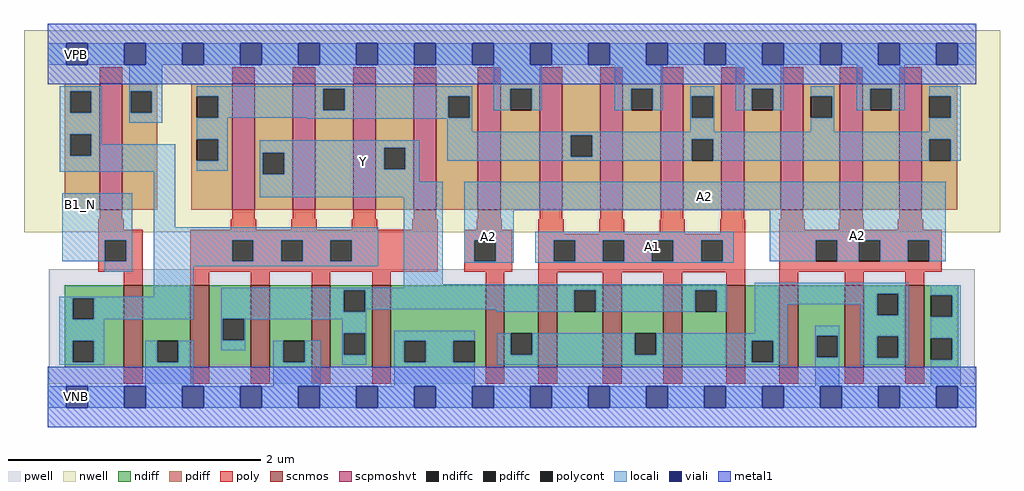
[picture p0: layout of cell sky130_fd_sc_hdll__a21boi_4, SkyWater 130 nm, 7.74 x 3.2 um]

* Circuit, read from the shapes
.subckt sky130_fd_sc_hdll__a21boi_4 A1 A2 B1_N VGND VNB VPB VPWR Y
XM1 VGND B1_N n1 VNB sky130_fd_pr__nfet_01v8 w=0.65 l=0.15
XM2 Y n1 VGND VNB sky130_fd_pr__nfet_01v8 w=0.65 l=0.15 m=4
XM3 n2 A2 VGND VNB sky130_fd_pr__nfet_01v8 w=0.65 l=0.15 m=4
XM4 Y A1 n2 VNB sky130_fd_pr__nfet_01v8 w=0.65 l=0.15 m=4
XM5 VPWR B1_N n1 VPB sky130_fd_pr__pfet_01v8_hvt w=1 l=0.18
XM6 Y n1 n3 VPB sky130_fd_pr__pfet_01v8_hvt w=1 l=0.18 m=4
XM7 VPWR A2 n3 VPB sky130_fd_pr__pfet_01v8_hvt w=1 l=0.18 m=4
XM8 n3 A1 VPWR VPB sky130_fd_pr__pfet_01v8_hvt w=1 l=0.18 m=4
.ends

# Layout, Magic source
magic
tech sky130A
magscale 1 2
<< nwell >>
rect -38 261 1510 582
<< pwell >>
rect 1 21 1470 203
rect 29 -17 63 21
<< scnmos >>
rect 120 47 150 177
rect 226 47 256 177
rect 322 47 352 177
rect 418 47 448 177
rect 514 47 544 177
rect 694 47 724 177
rect 778 47 808 177
rect 880 47 910 177
rect 976 47 1006 177
rect 1076 47 1106 177
rect 1160 47 1190 177
rect 1264 47 1294 177
rect 1360 47 1390 177
<< scpmoshvt >>
rect 82 297 118 497
rect 292 297 328 497
rect 388 297 424 497
rect 484 297 520 497
rect 580 297 616 497
rect 682 297 718 497
rect 780 297 816 497
rect 876 297 912 497
rect 972 297 1008 497
rect 1068 297 1104 497
rect 1162 297 1198 497
rect 1256 297 1292 497
rect 1350 297 1386 497
<< ndiff >>
rect 27 157 120 177
rect 27 123 39 157
rect 73 123 120 157
rect 27 89 120 123
rect 27 55 39 89
rect 73 55 120 89
rect 27 47 120 55
rect 150 89 226 177
rect 150 55 173 89
rect 207 55 226 89
rect 150 47 226 55
rect 256 124 322 177
rect 256 90 277 124
rect 311 90 322 124
rect 256 47 322 90
rect 352 89 418 177
rect 352 55 373 89
rect 407 55 418 89
rect 352 47 418 55
rect 448 169 514 177
rect 448 135 469 169
rect 503 135 514 169
rect 448 101 514 135
rect 448 67 469 101
rect 503 67 514 101
rect 448 47 514 67
rect 544 89 694 177
rect 544 55 565 89
rect 599 55 643 89
rect 677 55 694 89
rect 544 47 694 55
rect 724 101 778 177
rect 724 67 734 101
rect 768 67 778 101
rect 724 47 778 67
rect 808 169 880 177
rect 808 135 835 169
rect 869 135 880 169
rect 808 47 880 135
rect 910 101 976 177
rect 910 67 931 101
rect 965 67 976 101
rect 910 47 976 67
rect 1006 169 1076 177
rect 1006 135 1027 169
rect 1061 135 1076 169
rect 1006 47 1076 135
rect 1106 89 1160 177
rect 1106 55 1116 89
rect 1150 55 1160 89
rect 1106 47 1160 55
rect 1190 97 1264 177
rect 1190 63 1219 97
rect 1253 63 1264 97
rect 1190 47 1264 63
rect 1294 164 1360 177
rect 1294 130 1315 164
rect 1349 130 1360 164
rect 1294 96 1360 130
rect 1294 62 1315 96
rect 1349 62 1360 96
rect 1294 47 1360 62
rect 1390 161 1444 177
rect 1390 127 1400 161
rect 1434 127 1444 161
rect 1390 93 1444 127
rect 1390 59 1400 93
rect 1434 59 1444 93
rect 1390 47 1444 59
<< pdiff >>
rect 27 485 82 497
rect 27 451 35 485
rect 69 451 82 485
rect 27 417 82 451
rect 27 383 35 417
rect 69 383 82 417
rect 27 297 82 383
rect 118 485 173 497
rect 118 451 131 485
rect 165 451 173 485
rect 118 297 173 451
rect 227 477 292 497
rect 227 443 236 477
rect 270 443 292 477
rect 227 409 292 443
rect 227 375 236 409
rect 270 375 292 409
rect 227 297 292 375
rect 328 387 388 497
rect 328 353 341 387
rect 375 353 388 387
rect 328 297 388 353
rect 424 489 484 497
rect 424 455 437 489
rect 471 455 484 489
rect 424 297 484 455
rect 520 395 580 497
rect 520 361 533 395
rect 567 361 580 395
rect 520 297 580 361
rect 616 477 682 497
rect 616 443 635 477
rect 669 443 682 477
rect 616 297 682 443
rect 718 489 780 497
rect 718 455 733 489
rect 767 455 780 489
rect 718 297 780 455
rect 816 415 876 497
rect 816 381 829 415
rect 863 381 876 415
rect 816 297 876 381
rect 912 489 972 497
rect 912 455 925 489
rect 959 455 972 489
rect 912 297 972 455
rect 1008 477 1068 497
rect 1008 443 1021 477
rect 1055 443 1068 477
rect 1008 409 1068 443
rect 1008 375 1021 409
rect 1055 375 1068 409
rect 1008 297 1068 375
rect 1104 489 1162 497
rect 1104 455 1116 489
rect 1150 455 1162 489
rect 1104 297 1162 455
rect 1198 477 1256 497
rect 1198 443 1210 477
rect 1244 443 1256 477
rect 1198 297 1256 443
rect 1292 489 1350 497
rect 1292 455 1304 489
rect 1338 455 1350 489
rect 1292 297 1350 455
rect 1386 477 1442 497
rect 1386 443 1398 477
rect 1432 443 1442 477
rect 1386 409 1442 443
rect 1386 375 1398 409
rect 1432 375 1442 409
rect 1386 297 1442 375
<< ndiffc >>
rect 39 123 73 157
rect 39 55 73 89
rect 173 55 207 89
rect 277 90 311 124
rect 373 55 407 89
rect 469 135 503 169
rect 469 67 503 101
rect 565 55 599 89
rect 643 55 677 89
rect 734 67 768 101
rect 835 135 869 169
rect 931 67 965 101
rect 1027 135 1061 169
rect 1116 55 1150 89
rect 1219 63 1253 97
rect 1315 130 1349 164
rect 1315 62 1349 96
rect 1400 127 1434 161
rect 1400 59 1434 93
<< pdiffc >>
rect 35 451 69 485
rect 35 383 69 417
rect 131 451 165 485
rect 236 443 270 477
rect 236 375 270 409
rect 341 353 375 387
rect 437 455 471 489
rect 533 361 567 395
rect 635 443 669 477
rect 733 455 767 489
rect 829 381 863 415
rect 925 455 959 489
rect 1021 443 1055 477
rect 1021 375 1055 409
rect 1116 455 1150 489
rect 1210 443 1244 477
rect 1304 455 1338 489
rect 1398 443 1432 477
rect 1398 375 1432 409
<< poly >>
rect 82 497 118 523
rect 292 497 328 523
rect 388 497 424 523
rect 484 497 520 523
rect 580 497 616 523
rect 682 497 718 523
rect 780 497 816 523
rect 876 497 912 523
rect 972 497 1008 523
rect 1068 497 1104 523
rect 1162 497 1198 523
rect 1256 497 1292 523
rect 1350 497 1386 523
rect 82 282 118 297
rect 292 282 328 297
rect 388 282 424 297
rect 484 282 520 297
rect 580 282 616 297
rect 682 282 718 297
rect 780 282 816 297
rect 876 282 912 297
rect 972 282 1008 297
rect 1068 282 1104 297
rect 1162 282 1198 297
rect 1256 282 1292 297
rect 1350 282 1386 297
rect 80 265 120 282
rect 290 265 330 282
rect 386 265 426 282
rect 482 265 522 282
rect 578 265 618 282
rect 680 265 720 282
rect 80 249 150 265
rect 80 215 90 249
rect 124 215 150 249
rect 80 199 150 215
rect 120 177 150 199
rect 226 249 618 265
rect 226 215 292 249
rect 326 215 370 249
rect 404 215 448 249
rect 482 215 618 249
rect 226 199 618 215
rect 660 249 736 265
rect 660 215 676 249
rect 710 215 736 249
rect 660 199 736 215
rect 778 259 818 282
rect 874 259 914 282
rect 970 259 1010 282
rect 1066 259 1106 282
rect 778 249 1106 259
rect 778 215 802 249
rect 836 215 880 249
rect 914 215 958 249
rect 992 215 1036 249
rect 1070 215 1106 249
rect 226 177 256 199
rect 322 177 352 199
rect 418 177 448 199
rect 514 177 544 199
rect 694 177 724 199
rect 778 198 1106 215
rect 778 177 808 198
rect 880 177 910 198
rect 976 177 1006 198
rect 1076 177 1106 198
rect 1160 265 1200 282
rect 1254 265 1294 282
rect 1348 265 1388 282
rect 1160 249 1418 265
rect 1160 215 1218 249
rect 1252 215 1286 249
rect 1320 215 1364 249
rect 1398 215 1418 249
rect 1160 199 1418 215
rect 1160 177 1190 199
rect 1264 177 1294 199
rect 1360 177 1390 199
rect 120 21 150 47
rect 226 21 256 47
rect 322 21 352 47
rect 418 21 448 47
rect 514 21 544 47
rect 694 21 724 47
rect 778 21 808 47
rect 880 21 910 47
rect 976 21 1006 47
rect 1076 21 1106 47
rect 1160 21 1190 47
rect 1264 21 1294 47
rect 1360 21 1390 47
<< polycont >>
rect 90 215 124 249
rect 292 215 326 249
rect 370 215 404 249
rect 448 215 482 249
rect 676 215 710 249
rect 802 215 836 249
rect 880 215 914 249
rect 958 215 992 249
rect 1036 215 1070 249
rect 1218 215 1252 249
rect 1286 215 1320 249
rect 1364 215 1398 249
<< locali >>
rect 0 527 29 561
rect 63 527 121 561
rect 155 527 213 561
rect 247 527 305 561
rect 339 527 397 561
rect 431 527 489 561
rect 523 527 581 561
rect 615 527 673 561
rect 707 527 765 561
rect 799 527 857 561
rect 891 527 949 561
rect 983 527 1041 561
rect 1075 527 1133 561
rect 1167 527 1225 561
rect 1259 527 1317 561
rect 1351 527 1409 561
rect 1443 527 1472 561
rect 19 485 85 493
rect 19 451 35 485
rect 69 451 85 485
rect 19 417 85 451
rect 129 485 181 527
rect 129 451 131 485
rect 165 451 181 485
rect 129 435 181 451
rect 236 489 673 493
rect 236 477 437 489
rect 270 455 437 477
rect 471 477 673 489
rect 471 455 635 477
rect 270 443 635 455
rect 669 443 673 477
rect 707 489 783 527
rect 707 455 733 489
rect 767 455 783 489
rect 899 489 975 527
rect 899 455 925 489
rect 959 455 975 489
rect 1019 477 1057 493
rect 19 383 35 417
rect 69 401 85 417
rect 236 409 285 443
rect 411 441 673 443
rect 69 383 202 401
rect 19 357 202 383
rect 270 375 285 409
rect 633 421 673 441
rect 1019 443 1021 477
rect 1055 443 1057 477
rect 1091 489 1167 527
rect 1091 455 1116 489
rect 1150 455 1167 489
rect 1210 477 1247 493
rect 1019 421 1057 443
rect 1244 443 1247 477
rect 1283 489 1359 527
rect 1283 455 1304 489
rect 1338 455 1359 489
rect 1398 477 1448 493
rect 1210 421 1247 443
rect 1432 443 1448 477
rect 1398 421 1448 443
rect 633 415 1448 421
rect 236 359 285 375
rect 336 395 589 407
rect 336 387 533 395
rect 23 249 134 323
rect 23 215 90 249
rect 124 215 134 249
rect 90 199 134 215
rect 168 269 202 357
rect 336 353 341 387
rect 375 361 533 387
rect 567 361 589 395
rect 633 381 829 415
rect 863 409 1448 415
rect 863 381 1021 409
rect 633 375 1021 381
rect 1055 375 1398 409
rect 1432 375 1448 409
rect 375 353 589 361
rect 336 341 589 353
rect 336 317 626 341
rect 168 249 524 269
rect 168 215 292 249
rect 326 215 370 249
rect 404 215 448 249
rect 482 215 524 249
rect 168 207 524 215
rect 168 159 231 207
rect 564 179 626 317
rect 660 296 1424 341
rect 660 249 739 296
rect 660 215 676 249
rect 710 215 739 249
rect 660 213 739 215
rect 773 249 1088 262
rect 773 215 802 249
rect 836 215 880 249
rect 914 215 958 249
rect 992 215 1036 249
rect 1070 215 1088 249
rect 1145 249 1424 296
rect 1145 215 1218 249
rect 1252 215 1286 249
rect 1320 215 1364 249
rect 1398 215 1424 249
rect 773 213 1088 215
rect 564 173 1077 179
rect 18 157 231 159
rect 18 123 39 157
rect 73 123 231 157
rect 275 169 1077 173
rect 275 135 469 169
rect 503 139 835 169
rect 503 135 505 139
rect 711 135 835 139
rect 869 135 1027 169
rect 1061 135 1077 169
rect 1121 164 1365 181
rect 1121 147 1315 164
rect 275 124 505 135
rect 18 89 89 123
rect 275 90 277 124
rect 311 123 505 124
rect 311 90 313 123
rect 18 55 39 89
rect 73 55 89 89
rect 18 51 89 55
rect 154 55 173 89
rect 207 55 231 89
rect 275 74 313 90
rect 467 101 505 123
rect 154 17 231 55
rect 357 55 373 89
rect 407 55 433 89
rect 357 17 433 55
rect 467 67 469 101
rect 503 67 505 101
rect 467 51 505 67
rect 549 89 677 105
rect 1121 101 1173 147
rect 1289 130 1315 147
rect 1349 130 1365 164
rect 549 55 565 89
rect 599 55 643 89
rect 549 17 677 55
rect 713 67 734 101
rect 768 67 931 101
rect 965 89 1173 101
rect 965 67 1116 89
rect 713 55 1116 67
rect 1150 55 1173 89
rect 713 51 1173 55
rect 1217 97 1255 113
rect 1217 63 1219 97
rect 1253 63 1255 97
rect 1217 17 1255 63
rect 1289 96 1365 130
rect 1289 62 1315 96
rect 1349 62 1365 96
rect 1289 51 1365 62
rect 1400 161 1448 177
rect 1434 127 1448 161
rect 1400 93 1448 127
rect 1434 59 1448 93
rect 1400 17 1448 59
rect 0 -17 29 17
rect 63 -17 121 17
rect 155 -17 213 17
rect 247 -17 305 17
rect 339 -17 397 17
rect 431 -17 489 17
rect 523 -17 581 17
rect 615 -17 673 17
rect 707 -17 765 17
rect 799 -17 857 17
rect 891 -17 949 17
rect 983 -17 1041 17
rect 1075 -17 1133 17
rect 1167 -17 1225 17
rect 1259 -17 1317 17
rect 1351 -17 1409 17
rect 1443 -17 1472 17
<< viali >>
rect 29 527 63 561
rect 121 527 155 561
rect 213 527 247 561
rect 305 527 339 561
rect 397 527 431 561
rect 489 527 523 561
rect 581 527 615 561
rect 673 527 707 561
rect 765 527 799 561
rect 857 527 891 561
rect 949 527 983 561
rect 1041 527 1075 561
rect 1133 527 1167 561
rect 1225 527 1259 561
rect 1317 527 1351 561
rect 1409 527 1443 561
rect 29 -17 63 17
rect 121 -17 155 17
rect 213 -17 247 17
rect 305 -17 339 17
rect 397 -17 431 17
rect 489 -17 523 17
rect 581 -17 615 17
rect 673 -17 707 17
rect 765 -17 799 17
rect 857 -17 891 17
rect 949 -17 983 17
rect 1041 -17 1075 17
rect 1133 -17 1167 17
rect 1225 -17 1259 17
rect 1317 -17 1351 17
rect 1409 -17 1443 17
<< metal1 >>
rect 0 561 1472 592
rect 0 527 29 561
rect 63 527 121 561
rect 155 527 213 561
rect 247 527 305 561
rect 339 527 397 561
rect 431 527 489 561
rect 523 527 581 561
rect 615 527 673 561
rect 707 527 765 561
rect 799 527 857 561
rect 891 527 949 561
rect 983 527 1041 561
rect 1075 527 1133 561
rect 1167 527 1225 561
rect 1259 527 1317 561
rect 1351 527 1409 561
rect 1443 527 1472 561
rect 0 496 1472 527
rect 0 17 1472 48
rect 0 -17 29 17
rect 63 -17 121 17
rect 155 -17 213 17
rect 247 -17 305 17
rect 339 -17 397 17
rect 431 -17 489 17
rect 523 -17 581 17
rect 615 -17 673 17
rect 707 -17 765 17
rect 799 -17 857 17
rect 891 -17 949 17
rect 983 -17 1041 17
rect 1075 -17 1133 17
rect 1167 -17 1225 17
rect 1259 -17 1317 17
rect 1351 -17 1409 17
rect 1443 -17 1472 17
rect 0 -48 1472 -17
<< labels >>
flabel locali s 484 357 518 391 0 FreeSans 340 0 0 0 Y
port 8 nsew signal output
flabel locali s 942 221 976 255 0 FreeSans 340 0 0 0 A1
port 1 nsew signal input
flabel locali s 35 289 69 323 0 FreeSans 340 0 0 0 B1_N
port 3 nsew signal input
flabel locali s 1145 215 1424 296 0 FreeSans 340 0 0 0 A2
port 2 nsew signal input
flabel pwell s 29 -17 63 17 0 FreeSans 200 0 0 0 VNB
port 5 nsew ground bidirectional
flabel nwell s 29 527 63 561 0 FreeSans 200 0 0 0 VPB
port 6 nsew power bidirectional
flabel metal1 s 29 -17 63 17 0 FreeSans 200 0 0 0 VGND
port 4 nsew ground bidirectional
flabel metal1 s 29 527 63 561 0 FreeSans 200 0 0 0 VPWR
port 7 nsew power bidirectional
rlabel locali s 660 296 1424 341 1 A2
port 2 nsew signal input
rlabel locali s 660 213 739 296 1 A2
port 2 nsew signal input
<< properties >>
string LEFsite unithd
string LEFclass CORE
string FIXED_BBOX 0 0 1472 544
string GDS_FILE $PDKPATH/libs.ref/sky130_fd_sc_hdll/gds/sky130_fd_sc_hdll.gds
string LEFsymmetry X Y R90
string GDS_END 1635626
string GDS_START 1625756
string LEFproperties maskLayoutSubType "abstract" prCellType "standard" originalViewName "layout"
<< end >>
